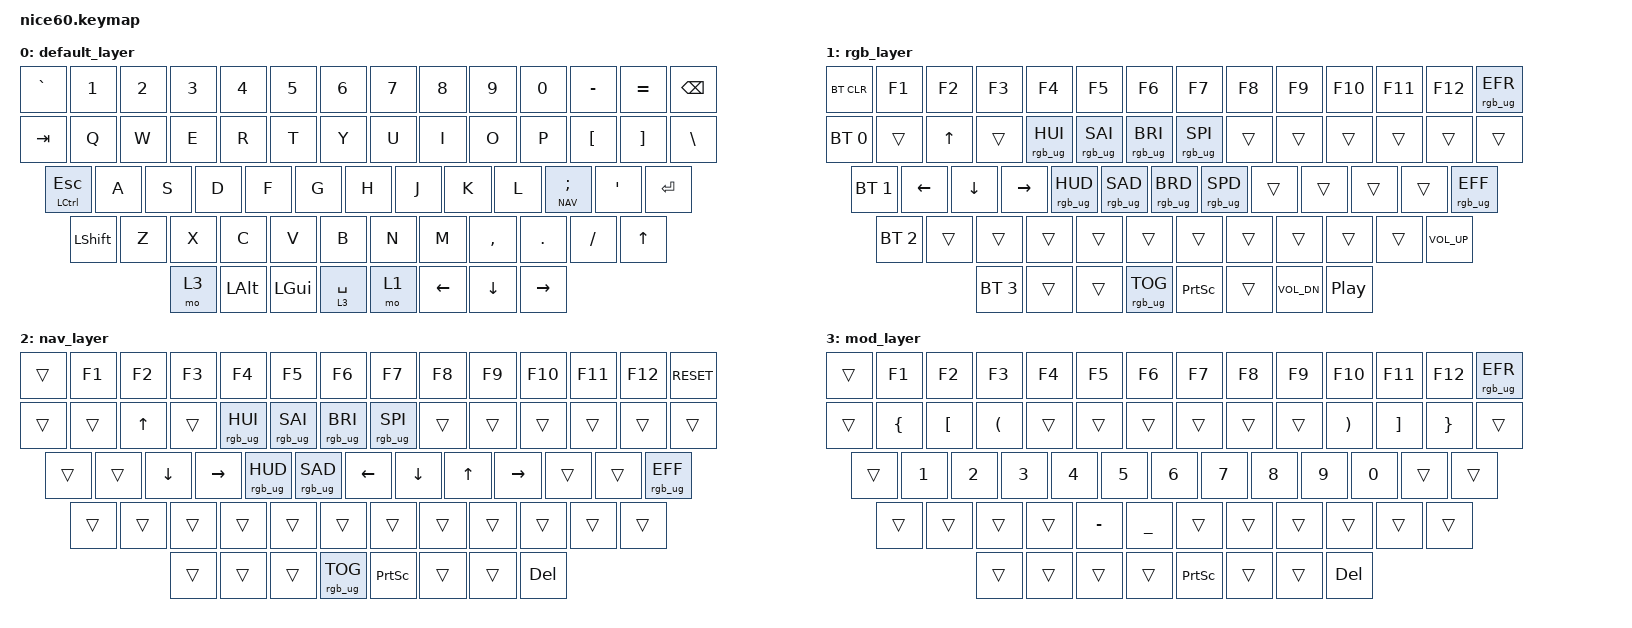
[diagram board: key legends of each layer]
/*
 * Copyright (c) 2021 Nick Winans
 *
 * SPDX-License-Identifier: MIT
 */

#include <behaviors.dtsi>
#include <dt-bindings/zmk/keys.h>
#include <dt-bindings/zmk/rgb.h>
#include <dt-bindings/zmk/bt.h>
#include <dt-bindings/zmk/outputs.h>
#include <dt-bindings/zmk/reset.h>
#include <dt-bindings/zmk/ext_power.h>

#define NAV 2

/ {
	behaviors{ 
	    hm: homerowmods {
		compatible = "zmk,behavior-hold-tap";
		label = "HOMEROW_MODS";
		#binding-cells = <2>;
		tapping-term-ms = <300>;
		quick-tap-ms = <0>;
		flavor = "tap-preferred";
		bindings = <&kp>, <&kp>;
	    };
	};

	keymap {
		compatible = "zmk,keymap";
		
		default_layer {
// ------------------------------------------------------------------------------------------
// | ESC |  1  |  2  |  3  |  4  |  5  |  6  |  7  |  8  |  9  |  0  |  -  |  =  |   BKSP   |
// | TAB  |  Q  |  W  |  E  |  R  |  T  |  Y  |  U  |  I  |  O  |  P  |  [  |  ]  |   "|"   |
// | CAPS  |  A  |  S  |  D  |  F  |  G  |  H  |  J  |  K  |  L  |  ;  |  '  |     ENTER    |
// |  SHIFT  |  Z  |  X  |  C  |  V  |  B  |  N  |  M  |  ,  |  .  |  /  |      SHIFT       |
// |  CTL  |  WIN  |  ALT  |            SPACE              |  ALT  |  WIN  |  MO(1) |  CTL  |
// ------------------------------------------------------------------------------------------
			bindings = <
	&kp GRAVE  &kp N1 &kp N2 &kp N3 &kp N4 &kp N5 &kp N6 &kp N7 &kp N8 &kp N9 &kp N0 &kp MINUS &kp EQUAL  &kp BSPC
	&kp TAB  &kp Q  &kp W  &kp E  &kp R  &kp T  &kp Y  &kp U  &kp I  &kp O  &kp P  &kp LBKT  &kp RBKT  &kp BSLH
	&mt LCTRL ESC  &kp A  &kp S  &kp D  &kp F  &kp G  &kp H  &kp J  &kp K  &kp L  &lt NAV SEMI &kp SQT           &kp RET
	&kp LSHFT   &kp Z  &kp X  &kp C  &kp V  &kp B  &kp N  &kp M  &kp COMMA &kp DOT &kp FSLH           &kp UP
	&mo 3 &kp LALT &kp LGUI              &lt 3 SPACE                     &mo 1  &kp LEFT  &kp DOWN   &kp RIGHT
			>;
		};

		rgb_layer {
// ------------------------------------------------------------------------------------------------
// | BT CLR | F1  | F2  | F3  | F4  | F5  | F6  | F7  | F8  | F9  | F10  | F11 | F12 | EFFECT REV |
// |  BT 1   |   |  UP |   | HUEUP | SATUP | BRIUP | SPDUP |   |     |    |     |     |           |
// |   BT 2   | LT |  DN  | RT | HUEDN | SATDN | BRIDN | SPDDN |   |     |   |     |  EFFECT FORW |
// |    BT 3     |     |      |      |     |     |     |     |     |     |     |                  |
// |   BT 4  |      |      |             TOG RGB                | PRT SCR |       |       |  DEL  |
// ------------------------------------------------------------------------------------------------
			bindings = <
	&bt BT_CLR   &kp F1    &kp F2    &kp F3  &kp F4           &kp F5          &kp F6          &kp F7          &kp F8   &kp F9   &kp F10  &kp F11 &kp F12  &rgb_ug RGB_EFR
	&bt BT_SEL 0  &trans    &kp UP    &trans  &rgb_ug RGB_HUI  &rgb_ug RGB_SAI &rgb_ug RGB_BRI &rgb_ug RGB_SPI  &trans   &trans   &trans   &trans  &trans          &trans 
	&bt BT_SEL 1   &kp LEFT  &kp DOWN  &kp RIGHT &rgb_ug RGB_HUD &rgb_ug RGB_SAD &rgb_ug RGB_BRD &rgb_ug RGB_SPD &trans   &trans   &trans   &trans        &rgb_ug RGB_EFF
	&bt BT_SEL 2    &trans    &trans    &trans   &trans          &trans          &trans          &trans          &trans   &trans   &trans                          &kp C_VOL_UP
	&bt BT_SEL 3  &trans   &trans                            &rgb_ug RGB_TOG                                      &kp PSCRN      &trans      &kp C_VOL_DN               &kp C_PP
			>;
		};
		
		
		nav_layer {
// ------------------------------------------------------------------------------------------------
// | BT CLR | F1  | F2  | F3  | F4  | F5  | F6  | F7  | F8  | F9  | F10  | F11 | F12 | EFFECT REV |
// |  BT 1   |   |  UP |   | HUEUP | SATUP | BRIUP | SPDUP |   |     |    |     |     |           |
// |   BT 2   | LT |  DN  | RT | HUEDN | SATDN | BRIDN | SPDDN |   |     |   |     |  EFFECT FORW |
// |    BT 3     |     |      |      |     |     |     |     |     |     |     |                  |
// |   BT 4  |      |      |             TOG RGB                | PRT SCR |       |       |  DEL  |
// ------------------------------------------------------------------------------------------------
			bindings = <
	&trans   &kp F1    &kp F2    &kp F3  &kp F4           &kp F5          &kp F6          &kp F7          &kp F8   &kp F9   &kp F10  &kp F11 &kp F12  &kp C_RESET
	&trans  &trans    &kp UP    &trans  &rgb_ug RGB_HUI  &rgb_ug RGB_SAI &rgb_ug RGB_BRI &rgb_ug RGB_SPI  &trans   &trans   &trans   &trans  &trans          &trans 
	&trans   &trans  &kp DOWN  &kp RIGHT &rgb_ug RGB_HUD &rgb_ug RGB_SAD &kp LEFT &kp DOWN &kp UP   &kp RIGHT   &trans   &trans        &rgb_ug RGB_EFF
	&trans    &trans    &trans    &trans   &trans          &trans          &trans          &trans          &trans   &trans   &trans                          &trans
	&trans  &trans   &trans                            &rgb_ug RGB_TOG                                      &kp PSCRN      &trans      &trans               &kp DEL
			>;
		};

		mod_layer {
// ------------------------------------------------------------------------------------------------
// | BT CLR | F1  | F2  | F3  | F4  | F5  | F6  | F7  | F8  | F9  | F10  | F11 | F12 | EFFECT REV |
// |  BT 1   |   |  UP |   | HUEUP | SATUP | BRIUP | SPDUP |   |     |    |     |     |           |
// |   BT 2   | LT |  DN  | RT | HUEDN | SATDN | BRIDN | SPDDN |   |     |   |     |  EFFECT FORW |
// |    BT 3     |     |      |      |     |     |     |     |     |     |     |                  |
// |   BT 4  |      |      |             TOG RGB                | PRT SCR |       |       |  DEL  |
// ------------------------------------------------------------------------------------------------
			bindings = <
	&trans  &kp F1    &kp F2    &kp F3  &kp F4           &kp F5          &kp F6          &kp F7          &kp F8   &kp F9   &kp F10  &kp F11 &kp F12  &rgb_ug RGB_EFR
	&trans  &kp LBRC  &kp LBKT    &kp LPAR  &trans  &trans &trans  &trans  &trans   &trans   &kp RPAR   &kp RBKT  &kp RBRC          &trans 
	&trans  &kp N1    &kp N2  &kp N3 &kp N4 &kp N5 &kp N6 &kp N7 &kp N8   &kp N9   &kp N0   &trans        &trans
	&trans  &trans    &trans    &trans   &kp MINUS       &kp UNDER          &trans          &trans          &trans   &trans   &trans                          &trans
	&trans  &trans    &trans                                &trans                                      &kp PSCRN      &trans      &trans               &kp DEL
			>;
		};
	};
};
